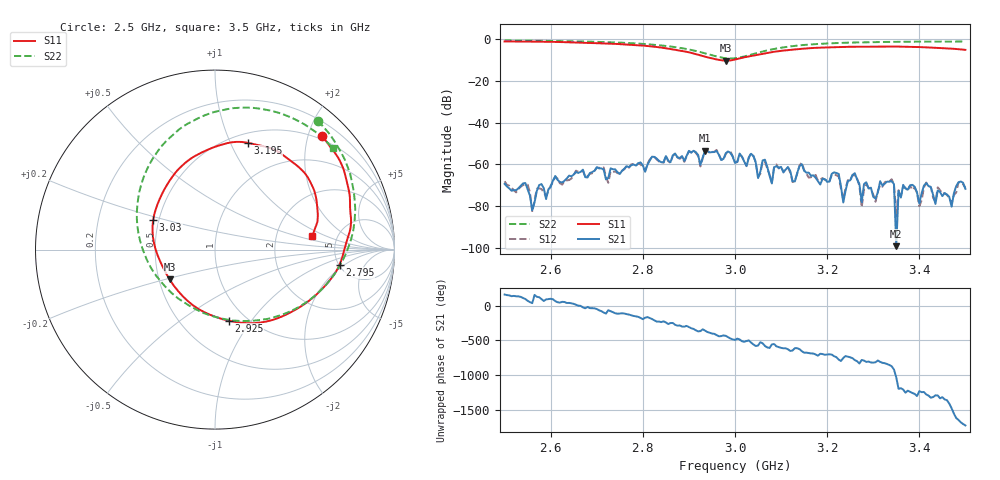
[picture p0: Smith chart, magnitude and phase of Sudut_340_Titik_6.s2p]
# Hz S RI R 50
! CMT, C1220, 16058040, 17.2.0/1
! Date: 15/08/2018 10:20:34
! Data: Format (Calibration Info)
! Freq  S11: Re/Im (F2)  S21: Re/Im (F2)  S12: Re/Im (F2)  S22: Re/Im (F2)
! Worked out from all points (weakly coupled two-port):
!   201 points, 2.5 GHz to 3.5 GHz, reference 50 ohm
!   highest |S21| = -53.36 dB at 2.935 GHz (marker M1); lowest = -99.1 dB at 3.35 GHz (marker M2)
!   lowest |S11| = -10.4 dB at 2.98 GHz (marker M3), VSWR 1.87, Z = 28.4 - j10.4 ohm
!   |S11| at or under -10 dB: 2.964 GHz to 2.997 GHz (32.88 MHz wide, 1.1 % of centre)
!   |S22| runs from -9.3 to -0.7 dB; largest |S21 - S12| = 0.00016
!   S11 on the Smith chart (normalised r, x): 2.5 GHz: 0.43, +2.24; 2.795 GHz: 5.06, -1.69; 2.925 GHz: 0.83, -0.78; 3.03 GHz: 0.47, +0.18; 3.195 GHz: 0.60, +1.16; 3.5 GHz: 3.24, +0.73
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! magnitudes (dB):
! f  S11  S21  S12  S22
! 2.5 GHz  -1.2  -69.3  -68.1  -0.7
! 2.56 GHz  -1.3  -81.9  -82.7  -0.9
! 2.67 GHz  -1.8  -62.5  -62.9  -1.2
! 2.795 GHz  -3.1  -59.0  -60.0  -2.3
! 2.835 GHz  -4.0  -58.3  -58.6  -3.0
! 2.925 GHz  -7.9  -60.2  -60.9  -6.3
! 2.935 GHz  -8.5  -53.4  -53.3  -6.9
! 2.98 GHz  -10.4  -54.7  -55.0  -9.2
! 3 GHz  -9.9  -59.3  -59.1  -9.3
! 3.03 GHz  -8.4  -56.7  -56.6  -7.8
! 3.08 GHz  -6.3  -69.1  -68.5  -5.0
! 3.17 GHz  -4.3  -65.2  -65.7  -2.6
! 3.195 GHz  -4.1  -67.0  -67.4  -2.2
! 3.225 GHz  -3.9  -64.5  -65.8  -2.0
! 3.235 GHz  -3.9  -78.2  -76.7  -1.9
! 3.26 GHz  -3.8  -64.2  -65.4  -1.7
! 3.275 GHz  -3.8  -78.0  -80.5  -1.7
! 3.335 GHz  -3.6  -68.2  -68.1  -1.4
! 3.35 GHz  -3.7  -99.1  -84.9  -1.4
! 3.365 GHz  -3.7  -69.8  -70.6  -1.4
! 3.4 GHz  -3.9  -78.7  -80.0  -1.3
! 3.5 GHz  -5.2  -71.7  -71.1  -1.3
